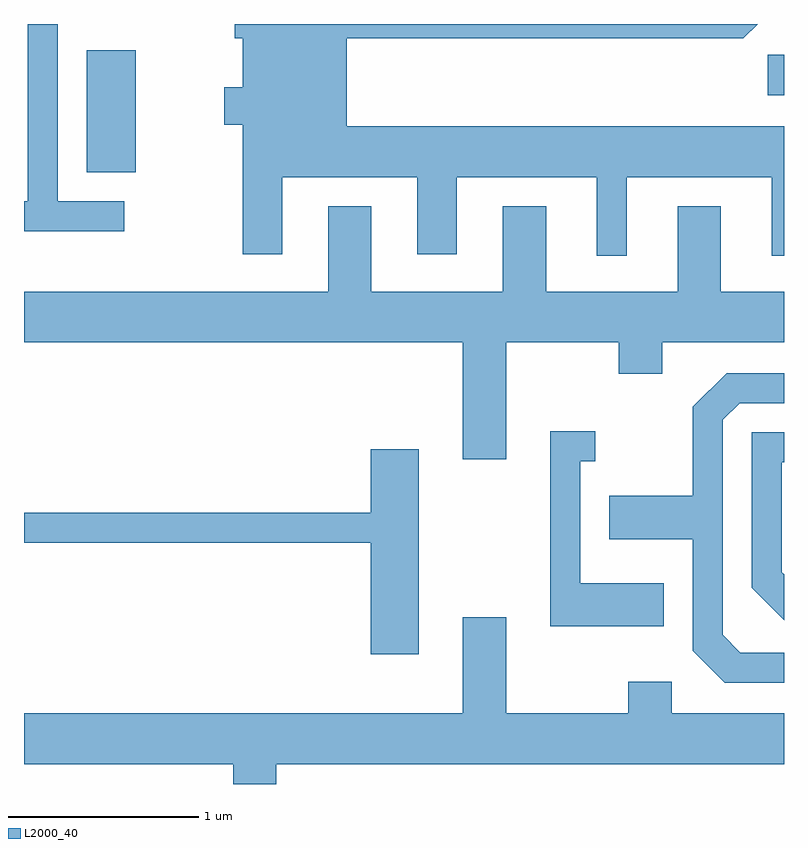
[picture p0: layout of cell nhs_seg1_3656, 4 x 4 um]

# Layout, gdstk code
import gdstk
lib = gdstk.Library(unit=1e-6, precision=1e-09)
def R(c, l, rs):  # rectangles x0, y0, x1, y1
    for r in rs: c.add(gdstk.rectangle(r[:2], r[2:], *l))
def P(c, l, *ps):  # polygons
    for p in ps: c.add(gdstk.Polygon(p, *l))
L2000_40 = (2000, 40)

nhs_seg1_3656 = lib.new_cell('nhs_seg1_3656')
R(nhs_seg1_3656, L2000_40, [(295.941,884.931,296.199,885.574), (299.526,885.336,299.611,885.549)])
P(nhs_seg1_3656, L2000_40, [(296.138,884.779),(295.789,884.779),(295.789,885.712),(295.631,885.712),(295.631,884.779),(295.611,884.779),(295.611,884.621),(296.138,884.621)],
  [(298.784,884.906),(299.546,884.906),(299.546,884.493),(299.611,884.493),(299.611,885.174),(297.309,885.174),(297.309,885.636),(299.397,885.636),(299.473,885.712),(296.721,885.712),(296.721,885.636),(296.761,885.636),(296.761,885.379),(296.666,885.379),(296.666,885.181),(296.761,885.181),(296.761,884.501),(296.969,884.501),(296.969,884.906),(297.681,884.906),(297.681,884.501),(297.889,884.501),(297.889,884.906),(298.626,884.906),(298.626,884.493),(298.784,884.493)],
  [(298.149,884.036),(298.741,884.036),(298.741,883.871),(298.969,883.871),(298.969,884.036),(299.611,884.036),(299.611,884.304),(299.279,884.304),(299.279,884.754),(299.051,884.754),(299.051,884.304),(298.359,884.304),(298.359,884.754),(298.131,884.754),(298.131,884.304),(297.439,884.304),(297.439,884.754),(297.211,884.754),(297.211,884.304),(295.611,884.304),(295.611,884.036),(297.921,884.036),(297.921,883.421),(298.149,883.421)],
  [(299.611,882.404),(299.382,882.404),(299.289,882.497),(299.289,883.629),(299.377,883.716),(299.611,883.716),(299.611,883.874),(299.309,883.874),(299.131,883.697),(299.131,883.229),(298.691,883.229),(298.691,883.001),(299.131,883.001),(299.131,882.414),(299.299,882.246),(299.611,882.246)],
  [(298.979,882.769),(298.539,882.769),(298.539,883.411),(298.618,883.411),(298.618,883.569),(298.381,883.569),(298.381,882.541),(298.979,882.541)],
  [(299.611,882.815),(299.599,882.827),(299.599,883.406),(299.611,883.406),(299.611,883.564),(299.441,883.564),(299.441,882.744),(299.611,882.574)],
  [(297.689,883.474),(297.436,883.474),(297.436,883.139),(295.611,883.139),(295.611,882.981),(297.436,882.981),(297.436,882.396),(297.689,882.396)],
  [(296.939,881.816),(299.611,881.816),(299.611,882.084),(299.019,882.084),(299.019,882.249),(298.791,882.249),(298.791,882.084),(298.149,882.084),(298.149,882.589),(297.921,882.589),(297.921,882.084),(295.611,882.084),(295.611,881.816),(296.711,881.816),(296.711,881.712),(296.939,881.712)])

lib.write_gds('nhs_seg1_3656.gds')
